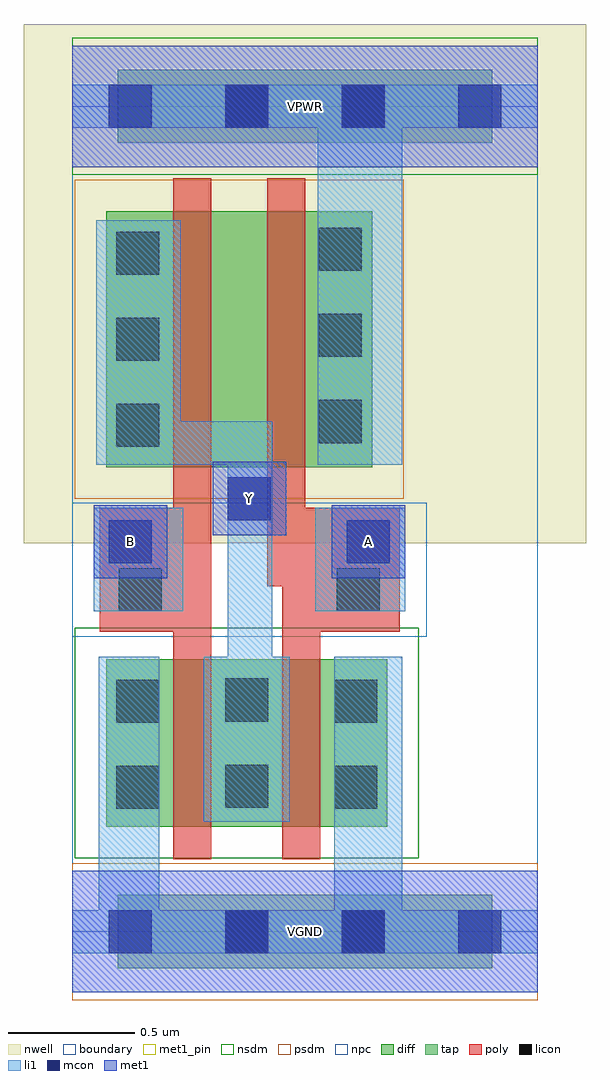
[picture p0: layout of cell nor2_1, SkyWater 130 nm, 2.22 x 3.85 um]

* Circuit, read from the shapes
.subckt nor2_1 A B VGND VPWR Y
XM1 Y B VGND VGND sky130_fd_pr__nfet_01v8 w=0.66 l=0.15
XM2 VGND A Y VGND sky130_fd_pr__nfet_01v8 w=0.66 l=0.15
XM3 n1 B Y VPWR sky130_fd_pr__pfet_01v8 w=1.01 l=0.15
XM4 VPWR A n1 VPWR sky130_fd_pr__pfet_01v8 w=1.01 l=0.15
.ends

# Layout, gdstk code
import gdstk
lib = gdstk.Library(unit=1e-6, precision=1e-09)
def R(c, l, rs):  # rectangles x0, y0, x1, y1
    for r in rs: c.add(gdstk.rectangle(r[:2], r[2:], *l))
def A(c, l, x, y, w, h, nx, ny, dx, dy):  # array of equal rectangles
    R(c, l, [(x+i*dx, y+j*dy, x+i*dx+w, y+j*dy+h) for i in range(nx) for j in range(ny)])
nwell = (64, 20)
diff = (65, 20)
tap = (65, 44)
poly = (66, 20)
licon = (66, 44)
li1 = (67, 20)
mcon = (67, 44)
met1_pin = (68, 16)
met1 = (68, 20)
nsdm = (93, 44)
psdm = (94, 20)
npc = (95, 20)
boundary = (235, 4)

nor2_1 = lib.new_cell('nor2_1')
R(nor2_1, nwell, [(-0.19,1.535,2.03,3.585), (0,1.535,1.84,3.585)])
R(nor2_1, diff, [(0.135,0.415,1.245,1.075), (0.135,1.835,1.185,2.845)])
R(nor2_1, tap, [(0.18,-0.145,1.66,0.145), (0.18,3.115,1.66,3.405)])
R(nor2_1, poly, [(0.4,0.285,0.55,2.975), (0.83,0.285,0.98,1.675), (0.11,1.185,0.55,1.675), (0.83,1.185,1.295,1.675), (0.77,1.365,0.92,2.975)])
A(nor2_1, licon, 0.175, 1.915, 0.17, 0.17, 1, 3, 0, 0.34)
A(nor2_1, licon, 0.975, 1.93, 0.17, 0.17, 1, 3, 0, 0.34)
R(nor2_1, licon, [(0.605,-0.085,0.775,0.085), (1.065,-0.085,1.235,0.085), (0.175,0.485,0.345,0.655), (1.035,0.485,1.205,0.655), (0.605,0.49,0.775,0.66), (0.175,0.825,0.345,0.995), (1.035,0.825,1.205,0.995), (0.605,0.83,0.775,1), (0.185,1.265,0.355,1.435), (1.045,1.265,1.215,1.435), (0.605,3.175,0.775,3.345), (1.065,3.175,1.235,3.345)])
R(nor2_1, li1, [(0,-0.085,1.84,0.085), (0.105,-0.085,0.345,1.085), (1.035,-0.085,1.305,1.085), (0.52,0.435,0.86,1.085), (0.615,0.435,0.79,2.015), (0.085,1.265,0.44,1.675), (0.96,1.265,1.315,1.675), (0.095,1.845,0.43,2.81), (0.095,1.845,0.79,2.015), (0.97,1.845,1.305,3.345), (0,3.175,1.84,3.345)])
A(nor2_1, mcon, 0.145, -0.085, 0.17, 0.17, 4, 2, 0.46, 3.26)
R(nor2_1, mcon, [(0.145,1.455,0.315,1.625), (1.085,1.455,1.255,1.625), (0.615,1.625,0.785,1.795)])
R(nor2_1, met1_pin, [(0,-0.24,1.84,0.24), (0.085,1.395,0.375,1.685), (1.025,1.395,1.315,1.685), (0.555,1.565,0.845,1.855), (0,3.02,1.84,3.5)])
R(nor2_1, met1, [(0,-0.24,1.84,0.24), (0.085,1.395,0.375,1.685), (1.025,1.395,1.315,1.685), (0.555,1.565,0.845,1.855), (0,3.02,1.84,3.5)])
R(nor2_1, nsdm, [(0.01,0.29,1.37,1.2), (0,2.99,1.84,3.53)])
R(nor2_1, psdm, [(0,-0.27,1.84,0.27), (0.01,1.71,1.31,2.97)])
R(nor2_1, npc, [(0,1.165,1.4,1.695)])
R(nor2_1, boundary, [(0,0,1.84,3.26)])
nor2_1.add(gdstk.Label('A', (1.17,1.54), layer=68, texttype=5))
nor2_1.add(gdstk.Label('B', (0.23,1.54), layer=68, texttype=5))
nor2_1.add(gdstk.Label('Y', (0.7,1.71), layer=68, texttype=5))
nor2_1.add(gdstk.Label('VPWR', (0.92,3.26), layer=68, texttype=5))
nor2_1.add(gdstk.Label('VGND', (0.92,0), layer=68, texttype=5))
nor2_1.add(gdstk.Label('A', (1.17,1.54), layer=68, texttype=16))
nor2_1.add(gdstk.Label('B', (0.23,1.54), layer=68, texttype=16))
nor2_1.add(gdstk.Label('Y', (0.7,1.71), layer=68, texttype=16))
nor2_1.add(gdstk.Label('VPWR', (0.92,3.26), layer=68, texttype=16))
nor2_1.add(gdstk.Label('VGND', (0.92,0), layer=68, texttype=16))

lib.write_gds('nor2_1.gds')
